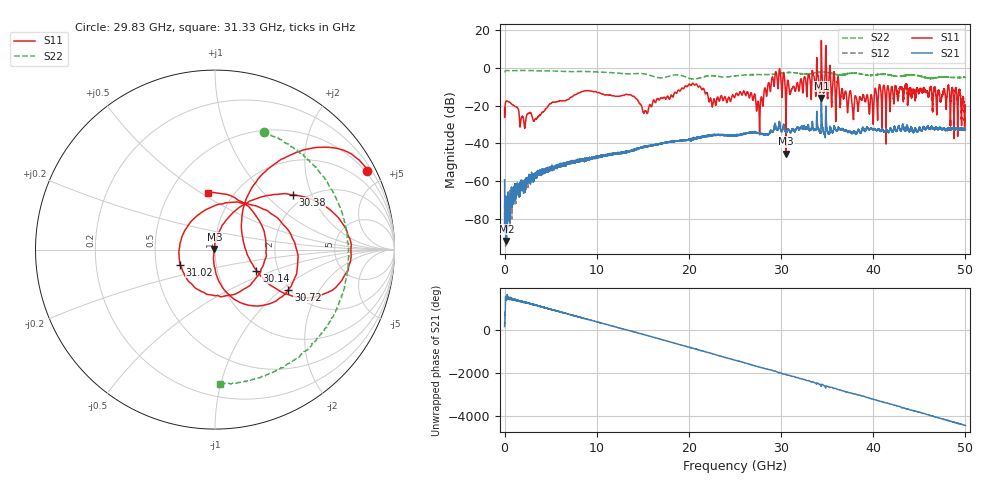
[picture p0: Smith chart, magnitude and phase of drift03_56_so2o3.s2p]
!Created with skrf (http://scikit-rf.org).
# Hz S RI R 50.0
!freq ReS11 ImS11 ReS21 ImS21 ReS12 ImS12 ReS22 ImS22
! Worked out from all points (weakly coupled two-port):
!   10001 points, 300 kHz to 50 GHz, reference 50 ohm
!   highest |S21| = -16.01 dB at 34.37 GHz (marker M1); lowest = -91.9 dB at 200.3 MHz (marker M2)
!   lowest |S11| = -45.5 dB at 30.53 GHz (marker M3), VSWR 1.01, Z = 49.6 + j0.369 ohm
!   |S11| at or under -10 dB: start of sweep to 19.55 GHz; 21.25 GHz to 28.55 GHz (7.298 GHz wide, 29.3 % of centre); 36.28 GHz to 40.62 GHz (4.334 GHz wide, 11.3 % of centre) (the widest 3 of 36)
!   |S22| runs from -5.9 to -1.3 dB; largest |S21 - S12| = 0.03
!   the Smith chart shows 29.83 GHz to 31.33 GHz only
!   S11 on the Smith chart (normalised r, x): 29.83 GHz: 0.42, +4.06; 30.14 GHz: 1.54, -0.39; 30.38 GHz: 1.73, +1.47; 30.72 GHz: 1.96, -1.12; 31.02 GHz: 0.66, -0.12; 31.33 GHz: 0.76, +0.54
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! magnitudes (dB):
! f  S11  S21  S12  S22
! 300 kHz  -21.5  -59.4  -72.0  -2.1
! 200.3 MHz  -17.6  -91.9  -74.6  -1.5
! 3.3 GHz  -27.3  -58.5  -57.3  -1.5
! 8.335 GHz  -12.6  -49.1  -48.7  -1.9
! 15.28 GHz  -22.8  -41.6  -41.8  -3.3
! 16.67 GHz  -16.5  -40.5  -40.7  -5.2
! 20.26 GHz  -9.1  -38.6  -37.9  -5.8
! 22.71 GHz  -16.5  -35.6  -35.7  -4.2
! 25 GHz  -15.2  -35.6  -35.9  -4.3
! 27.53 GHz  -17.8  -34.6  -34.6  -3.5
! 29.83 GHz  -0.4  -29.3  -28.6  -3.0
! 30.14 GHz  -11.7  -33.3  -33.3  -2.8
! 30.38 GHz  -5.5  -32.1  -32.4  -2.6
! 30.53 GHz  -45.5  -34.0  -34.2  -2.5
! 30.72 GHz  -6.6  -32.7  -32.7  -2.5
! 31.02 GHz  -13.4  -34.1  -34.1  -2.4
! 31.33 GHz  -9.9  -32.5  -32.5  -2.5
! 33.34 GHz  -7.6  -31.3  -31.3  -2.9
! 34.37 GHz  14.6  -16.0  -17.4  -2.3
! 37.86 GHz  -27.3  -33.8  -33.8  -2.8
! 41.67 GHz  -11.4  -34.1  -34.1  -3.7
! 50 GHz  -19.7  -32.9  -33.0  -5.0
